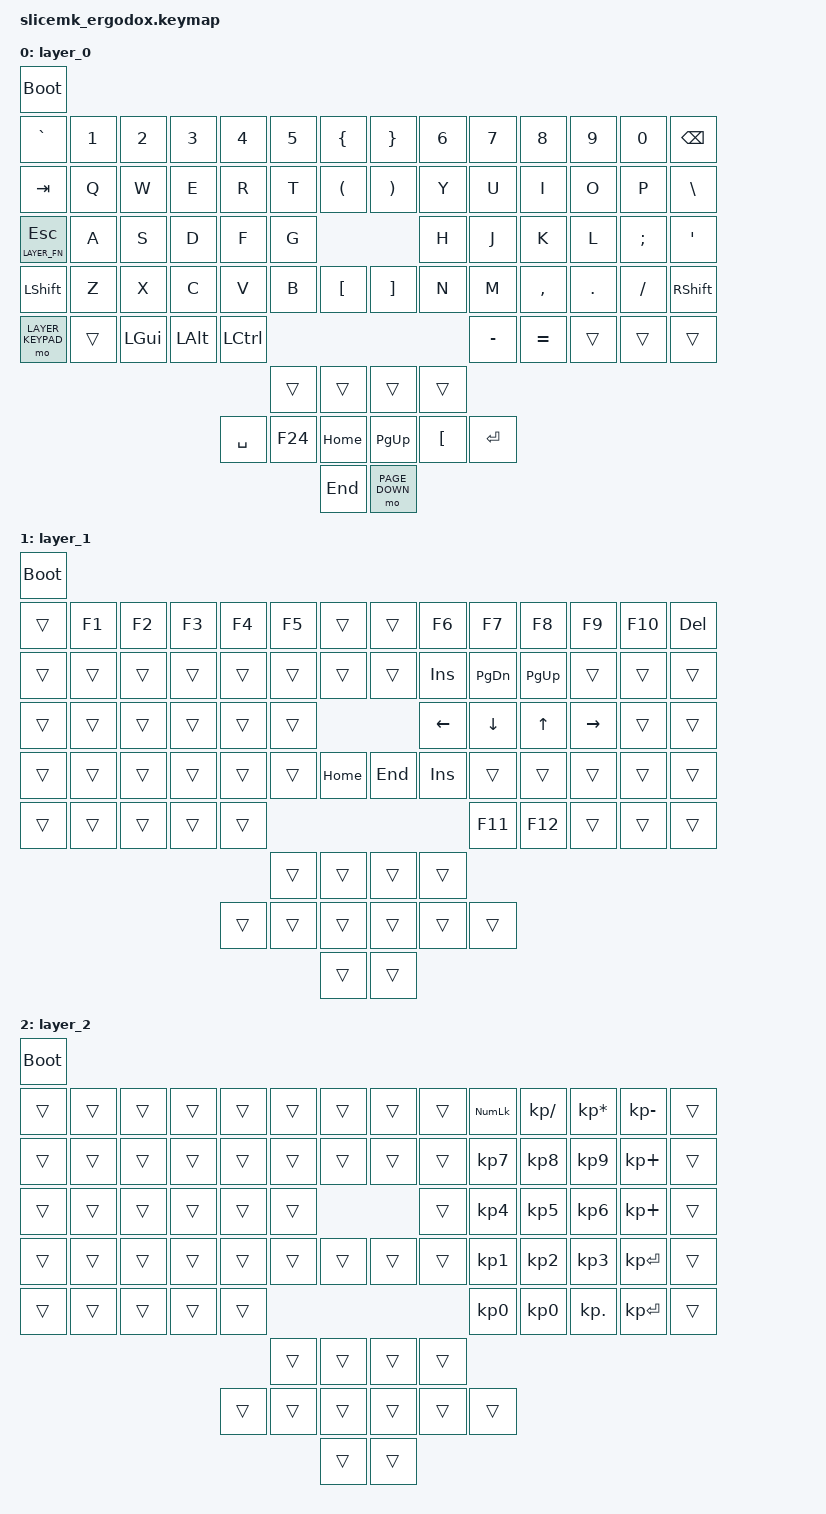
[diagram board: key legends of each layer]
#include <behaviors.dtsi>
#include <dt-bindings/zmk/bt.h>
#include <dt-bindings/zmk/keys.h>
#include <dt-bindings/zmk/mouse.h>
#include <dt-bindings/zmk/outputs.h>

#define LAYER_MAIN 0
#define LAYER_FN 1
#define LAYER_KEYPAD 2

&lt {
    flavor = "balanced";
};

/ {
	keymap {
		compatible = "zmk,keymap";

		layer_0 {
			bindings = <
				&bootloader
				&kp GRAVE         &kp NUMBER_1    &kp NUMBER_2 &kp NUMBER_3   &kp NUMBER_4   &kp NUMBER_5     &kp LEFT_BRACE   &kp RIGHT_BRACE  &kp NUMBER_6 &kp NUMBER_7   &kp NUMBER_8    &kp NUMBER_9  &kp NUMBER_0    &kp BACKSPACE
				&kp TAB           &kp Q           &kp W        &kp E          &kp R          &kp T            &kp LPAR         &kp RPAR         &kp Y        &kp U          &kp I           &kp O         &kp P           &kp BACKSLASH
				&lt LAYER_FN ESC  &kp A           &kp S        &kp D          &kp F          &kp G                                              &kp H        &kp J          &kp K           &kp L         &kp SEMICOLON   &kp SINGLE_QUOTE
				&kp LSHIFT        &kp Z           &kp X        &kp C          &kp V          &kp B            &kp LBKT         &kp RBKT         &kp N        &kp M          &kp COMMA       &kp PERIOD    &kp SLASH       &kp RSHIFT
				&mo LAYER_KEYPAD  &trans          &kp LEFT_GUI &kp LEFT_ALT   &kp LCTRL                                                                      &kp MINUS      &kp EQUAL       &trans        &trans          &trans
				                                                                             &trans           &trans           &trans           &trans
				                                                              &kp SPACE      &kp F24          &kp HOME         &kp PAGE_UP      &kp LBKT     &kp RETURN
				                                                                                              &kp END          &mo PAGE_DOWN
			>;
		};

		layer_1 {
			bindings = <
				&bootloader
				&trans     &kp F1      &kp F2      &kp F3      &kp F4      &kp F5       &trans     &trans      &kp F6      &kp F7      &kp F8      &kp F9      &kp F10      &kp DELETE
				&trans     &trans      &trans      &trans      &trans      &trans       &trans     &trans      &kp INSERT  &kp PG_DN   &kp PG_UP   &trans      &trans       &trans
				&trans     &trans      &trans      &trans      &trans      &trans                              &kp LEFT    &kp DOWN    &kp UP      &kp RIGHT   &trans       &trans
				&trans     &trans      &trans      &trans      &trans      &trans       &kp HOME   &kp END     &kp INSERT  &trans      &trans      &trans      &trans       &trans
				&trans     &trans      &trans      &trans      &trans                                                      &kp F11     &kp F12     &trans      &trans       &trans
                                                                           &trans       &trans     &trans      &trans
                                                               &trans      &trans       &trans     &trans      &trans      &trans
                                                                                        &trans     &trans
			>;
		};

		layer_2 {
			bindings = <
				&bootloader
				&trans     &trans      &trans      &trans      &trans      &trans       &trans     &trans      &trans      &kp KP_NUM  &kp KP_SLASH &kp KP_ASTERISK &kp KP_MINUS &trans
				&trans     &trans      &trans      &trans      &trans      &trans       &trans     &trans      &trans      &kp KP_N7   &kp KP_N8     &kp KP_N9      &kp KP_PLUS  &trans
				&trans     &trans      &trans      &trans      &trans      &trans                              &trans      &kp KP_N4   &kp KP_N5     &kp KP_N6      &kp KP_PLUS  &trans
				&trans     &trans      &trans      &trans      &trans      &trans       &trans     &trans      &trans      &kp KP_N1   &kp KP_N2     &kp KP_N3      &kp KP_ENTER &trans
				&trans     &trans      &trans      &trans      &trans                                                      &kp KP_N0   &kp KP_N0     &kp KP_DOT     &kp KP_ENTER &trans
                                                                           &trans       &trans     &trans      &trans
                                                               &trans      &trans       &trans     &trans      &trans      &trans
                                                                                        &trans     &trans
			>;
		};
	};
};
